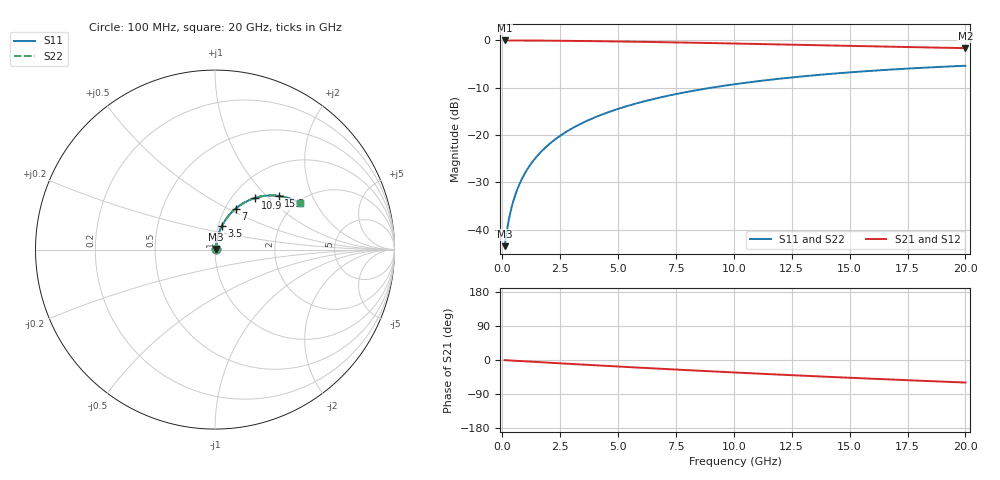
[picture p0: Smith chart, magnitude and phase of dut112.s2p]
! Touchstone file exported from HFSS 2026.1.0
!  File:  C:/ffzhzh/LocalFiles/Ansys_Project_Files/temp_train_BSMRDL_112_1782985873_40604.aedt
!  Generated:  05:52:40 PM Jul  2, 2026
!  Design:  BSMRDL
!  Project:  temp_train_BSMRDL_112_1782985873_40604
! Variables:
!  h_bsmrdl = 5.88um
!  h_ox = 20um
!  h_rdl = 5um
!  h_sub = 80um
!  h_tmrdl = 5um
!  h_tsv = 80um
!  h_via = 3um
!  l_bsmrdl = 941.05um
!  l_sub = 1341.05um
!  l_tmrdl = 200um
!  m_sub = 200um
!  pitch = 37.09um
!  r_tsv = 6um
!  s_tmrdl = 10um
!  w_bsmrdl = 10.66um
!  w_sub = 500um
!  w_tmrdl = 12um
!  x_tsv_center1 = 206um
!  x_tsv_center2 = 1157.71um
!  x_tsv_center3 = 1369.71um
!  x_tsv_center4 = 2321.42um
!  x_tsv_center5 = 2533.42um
!  x_tsv_center6 = 3485.13um
# GHz S MA R 50.000000
! Terminal data exported
! Port[1] = BSM_RDL1_1_T1
! Port[2] = BSM_RDL1_1_T2
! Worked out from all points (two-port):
!   200 points, 100 MHz to 20 GHz, reference 50 ohm
!   highest |S21| = -0.05 dB at 100 MHz (marker M1); lowest = -1.7 dB at 20 GHz (marker M2)
!   |S21| within 3 dB of the highest: start of sweep to end of sweep
!   lowest |S11| = -43.4 dB at 100 MHz (marker M3), VSWR 1.01, Z = 50.5 + j0.416 ohm
!   |S11| at or under -10 dB: start of sweep to 9.049 GHz
!   |S22| runs from -43.4 to -5.4 dB; largest |S21 - S12| = 2e-14
!   S11 on the Smith chart (normalised r, x): 100 MHz: 1.01, +0.01; 3.5 GHz: 1.04, +0.28; 7 GHz: 1.12, +0.54; 10.9 GHz: 1.27, +0.84; 15.3 GHz: 1.55, +1.18; 20 GHz: 2.05, +1.50
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0.1  0.006724 37.7  0.9947 -0.4  0.9947 -0.4  0.006724 37.7
! Gamma 0 0 0 0
! Port Impedance 50 0 50 0
0.2  0.009856 56.0  0.9946 -0.7  0.9946 -0.7  0.009856 56.0
0.3  0.01347 64.7  0.9944 -1.1  0.9944 -1.1  0.01347 64.7
0.4  0.01723 69.4  0.9942 -1.4  0.9942 -1.4  0.01723 69.4
0.5  0.02104 72.3  0.994 -1.8  0.994 -1.8  0.02104 72.3
0.6  0.02488 74.2  0.9938 -2.1  0.9938 -2.1  0.02488 74.2
0.8  0.03262 76.5  0.9935 -2.9  0.9935 -2.9  0.03262 76.5
1.1  0.04429 77.9  0.9928 -3.9  0.9928 -3.9  0.04429 77.9
1.5  0.05985 78.3  0.9916 -5.3  0.9916 -5.3  0.05984 78.3
2.1  0.083 77.5  0.9893 -7.4  0.9893 -7.4  0.083 77.5
2.7  0.1058 76.1  0.9863 -9.5  0.9863 -9.5  0.1058 76.1
3.5  0.1355 73.9  0.9816 -12.2  0.9816 -12.2  0.1355 73.9
5  0.1888 69.4  0.9708 -17.2  0.9708 -17.2  0.1888 69.4
6.8  0.2485 63.9  0.9554 -23.0  0.9554 -23.0  0.2485 63.9
7  0.2548 63.3  0.9536 -23.7  0.9536 -23.7  0.2548 63.3
8.5  0.3004 58.9  0.9392 -28.3  0.9392 -28.3  0.3004 58.9
10.1  0.3453 54.2  0.9229 -33.2  0.9229 -33.2  0.3453 54.3
10.9  0.3662 52.0  0.9145 -35.5  0.9145 -35.5  0.3662 52.0
13.4  0.4253 45.2  0.8883 -42.6  0.8883 -42.6  0.4253 45.2
15.3  0.464 40.2  0.8687 -47.7  0.8687 -47.7  0.4639 40.2
16.7  0.4891 36.7  0.855 -51.3  0.855 -51.3  0.4891 36.7
20  0.5382 28.8  0.8256 -59.5  0.8256 -59.5  0.5381 28.8
